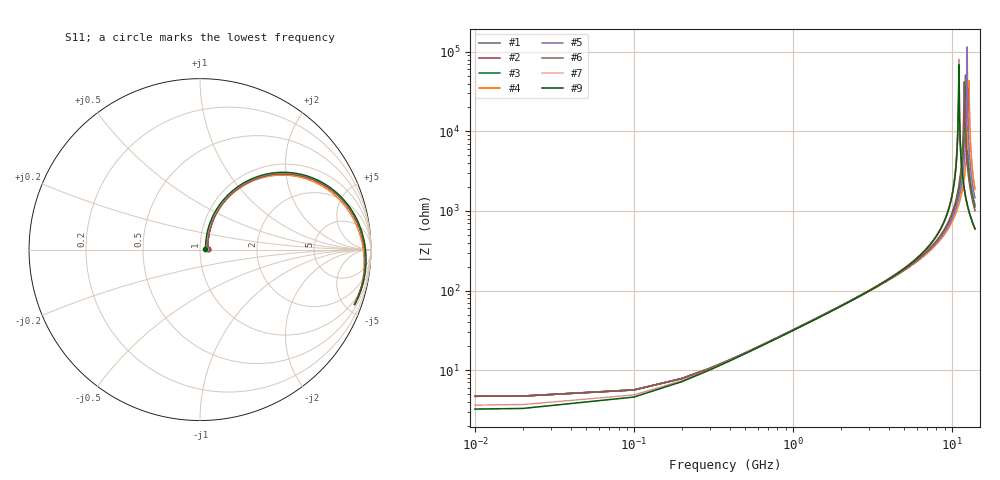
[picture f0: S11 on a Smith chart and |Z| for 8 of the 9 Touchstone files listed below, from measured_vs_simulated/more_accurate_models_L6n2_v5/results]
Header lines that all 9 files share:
#  GHZ S DB R 50.0
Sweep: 10 MHz to 14 GHz
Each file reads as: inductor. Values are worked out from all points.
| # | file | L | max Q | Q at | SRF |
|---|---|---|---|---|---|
| 1 | L6n2_with_ports_1um_passi3D.s2p | 4.99 nH | 56.5 | 10 GHz | 12.2 GHz |
| 2 | L6n2_with_ports_2um_mergecorrection_filled.s2p | 4.98 nH | 33.3 | 7.8 GHz | 11 GHz |
| 3 | L6n2_with_ports_2um_passi3D.s2p | 4.98 nH | 47.2 | 9.4 GHz | 12.1 GHz |
| 4 | L6n2_with_ports_2um_passi3D_testframe_ground.s2p | 4.97 nH | 649 | 9.3 GHz | 12.8 GHz |
| 5 | L6n2_with_ports_2um_passicut.s2p | 4.99 nH | 57.2 | 10.2 GHz | 12.5 GHz |
| 6 | L6n2_with_ports_5um_passi3D.s2p | 4.98 nH | 35.8 | 8.6 GHz | 11.9 GHz |
| 7 | L6n2_with_ports_surfacemesh_2um_mergecorrection.s2p | 4.97 nH | 778 | 9 GHz | 11 GHz |
| 8 | L6n2_with_ports_surfacemesh_2um_noviamerge.s2p | 4.97 nH | 790 | 9 GHz | 11 GHz |
| 9 | L6n2_with_ports_surfacemesh_2um_viamerge.s2p | 4.97 nH | 1.07e+03 | 8.6 GHz | 11 GHz |
